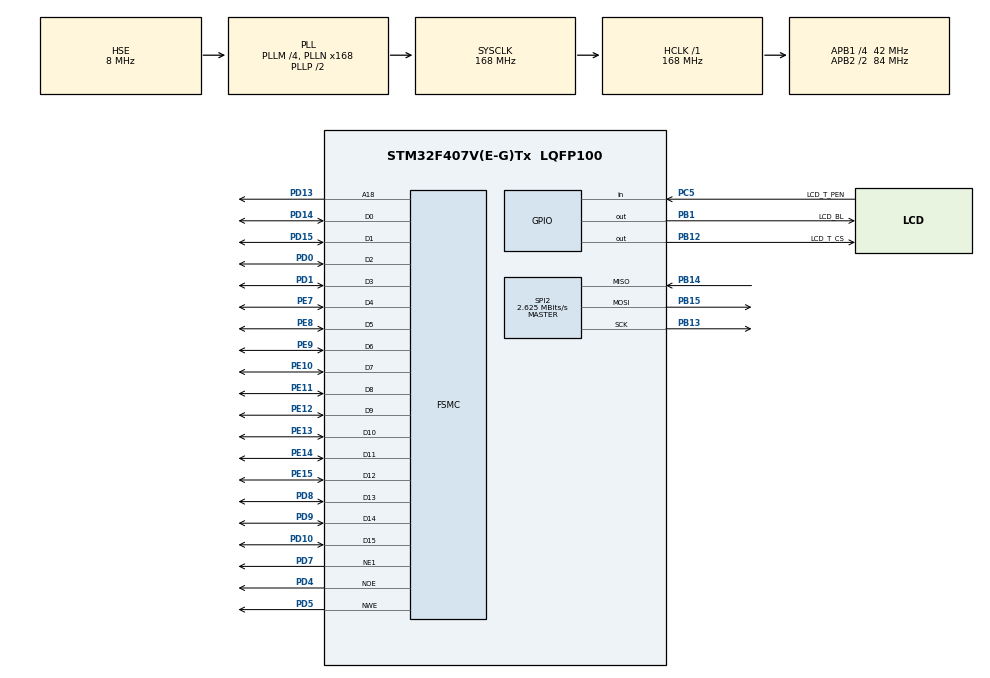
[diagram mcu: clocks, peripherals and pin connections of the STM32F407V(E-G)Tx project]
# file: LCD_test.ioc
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FSMC.BusTurnAroundDuration1=0
FSMC.DataSetupTime1=60
FSMC.ExtendedAddressSetupTime1=9
FSMC.ExtendedBusTurnAroundDuration1=0
FSMC.ExtendedDataSetupTime1=8
FSMC.ExtendedMode1=FSMC_EXTENDED_MODE_ENABLE
Mcu.Family=STM32F4
Mcu.Name=STM32F407V(E-G)Tx
Mcu.Package=LQFP100
NVIC.PriorityGroup=NVIC_PRIORITYGROUP_4
PA13.Mode=Serial_Wire
PA13.Signal=SYS_JTMS-SWDIO
PA14.Mode=Serial_Wire
PA14.Signal=SYS_JTCK-SWCLK
PB1.GPIO_Label=LCD_BL
PB1.PinState=GPIO_PIN_SET
PB1.Signal=GPIO_Output
PB12.GPIO_Label=LCD_T_CS
PB12.GPIO_Speed=GPIO_SPEED_FREQ_VERY_HIGH
PB12.PinState=GPIO_PIN_SET
PB12.Signal=GPIO_Output
PB13.Mode=Full_Duplex_Master
PB13.Signal=SPI2_SCK
PB14.Mode=Full_Duplex_Master
PB14.Signal=SPI2_MISO
PB15.Mode=Full_Duplex_Master
PB15.Signal=SPI2_MOSI
PC14-OSC32_IN.Mode=LSE-External-Oscillator
PC14-OSC32_IN.Signal=RCC_OSC32_IN
PC15-OSC32_OUT.Mode=LSE-External-Oscillator
PC15-OSC32_OUT.Signal=RCC_OSC32_OUT
PC5.GPIO_Label=LCD_T_PEN
PC5.GPIO_PuPd=GPIO_PULLUP
PC5.Signal=GPIO_Input
PD0.Mode=16b-d1
PD0.Signal=FSMC_D2
PD1.Mode=16b-d1
PD1.Signal=FSMC_D3
PD10.Mode=16b-d1
PD10.Signal=FSMC_D15
PD13.Mode=A18_1
PD13.Signal=FSMC_A18
PD14.Mode=16b-d1
PD14.Signal=FSMC_D0
PD15.Mode=16b-d1
PD15.Signal=FSMC_D1
PD4.Mode=Lcd1
PD4.Signal=FSMC_NOE
PD5.Mode=Lcd1
PD5.Signal=FSMC_NWE
PD7.Mode=NorPsramChipSelect1_1
PD7.Signal=FSMC_NE1
PD8.Mode=16b-d1
PD8.Signal=FSMC_D13
PD9.Mode=16b-d1
PD9.Signal=FSMC_D14
PE10.Mode=16b-d1
PE10.Signal=FSMC_D7
PE11.Mode=16b-d1
PE11.Signal=FSMC_D8
PE12.Mode=16b-d1
PE12.Signal=FSMC_D9
PE13.Mode=16b-d1
PE13.Signal=FSMC_D10
PE14.Mode=16b-d1
PE14.Signal=FSMC_D11
PE15.Mode=16b-d1
PE15.Signal=FSMC_D12
PE7.Mode=16b-d1
PE7.Signal=FSMC_D4
PE8.Mode=16b-d1
PE8.Signal=FSMC_D5
PE9.Mode=16b-d1
PE9.Signal=FSMC_D6
PH0-OSC_IN.Mode=HSE-External-Oscillator
PH0-OSC_IN.Signal=RCC_OSC_IN
PH1-OSC_OUT.Mode=HSE-External-Oscillator
PH1-OSC_OUT.Signal=RCC_OSC_OUT
ProjectManager.HeapSize=0x200
ProjectManager.StackSize=0x400
ProjectManager.TargetToolchain=MDK-ARM V5.32
RCC.48MHZClocksFreq_Value=84000000
RCC.AHBFreq_Value=168000000
RCC.APB1CLKDivider=RCC_HCLK_DIV4
RCC.APB1Freq_Value=42000000
RCC.APB1TimFreq_Value=84000000
RCC.APB2CLKDivider=RCC_HCLK_DIV2
RCC.APB2Freq_Value=84000000
RCC.APB2TimFreq_Value=168000000
RCC.CortexFreq_Value=168000000
RCC.HCLKFreq_Value=168000000
RCC.HSE_VALUE=8000000
RCC.HSI_VALUE=16000000
RCC.PLLM=4
RCC.PLLN=168
RCC.PLLSourceVirtual=RCC_PLLSOURCE_HSE
RCC.SYSCLKFreq_VALUE=168000000
RCC.SYSCLKSource=RCC_SYSCLKSOURCE_PLLCLK
RCC.VCOOutputFreq_Value=336000000
SPI2.BaudRatePrescaler=SPI_BAUDRATEPRESCALER_16
SPI2.CalculateBaudRate=2.625 MBits/s
SPI2.Direction=SPI_DIRECTION_2LINES
SPI2.Mode=SPI_MODE_MASTER
SPI2.VirtualType=VM_MASTER
board=custom

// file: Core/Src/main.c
/* USER CODE BEGIN Header */
/**
  ******************************************************************************
  * @file           : main.c
  * @brief          : Main program body
  ******************************************************************************
  * @attention
  *
  * Copyright (c) 2025 STMicroelectronics.
  * All rights reserved.
  *
  * This software is licensed under terms that can be found in the LICENSE file
  * in the root directory of this software component.
  * If no LICENSE file comes with this software, it is provided AS-IS.
  *
  ******************************************************************************
  */
/* USER CODE END Header */
#include "main.h"
#include "spi.h"
#include "gpio.h"
#include "fsmc.h"

/* USER CODE BEGIN Includes */
#include "lcd.h"
#include "touch.h"
#include "stdio.h"//用sprintf函数
/* USER CODE END Includes */

/* USER CODE BEGIN PV */
void test1()
{

}

/* USER CODE END PV */

void SystemClock_Config(void);

int main(void)
{

  /* MCU Configuration--------------------------------------------------------*/

  /* Reset of all peripherals, Initializes the Flash interface and the Systick. */
  HAL_Init();

  /* Configure the system clock */
  SystemClock_Config();

  /* Initialize all configured peripherals */
  MX_GPIO_Init();
  MX_FSMC_Init();
  MX_SPI2_Init();
  /* USER CODE BEGIN 2 */
	LCD_Init();

  /* USER CODE END 2 */

  /* Infinite loop */
  /* USER CODE BEGIN WHILE */
	LCD_Clear(YELLOW);
	POINT_COLOR = BLUE;
	BACK_COLOR = GREEN;
	char str[20] = {0};
	uint16_t adc_value = 0;
	uint32_t num = 0;

  while (1)
  {
			adc_value = XPT2046_Read_Filter(&hspi2,0xd0);
			sprintf(str, "ADC_X:%4d", adc_value);
			LCD_ShowString(10, 10, 400, 400, 24, (uint8_t*)str);
			adc_value =XPT2046_Read_Filter(&hspi2,0x90);
			sprintf(str, "ADC_Y:%4d", adc_value);
			LCD_ShowString(10, 40, 400, 400, 24, (uint8_t*)str);

			num = XPT2046_Get_Point(&hspi2);
			if((num>>16)&&(num&0xffff) != 0)
			{
				sprintf(str,"X:%3d",num>>16);
				LCD_ShowString(10,70,400,400,24,(uint8_t*)str);
				sprintf(str,"Y:%3d",num&0xffff);
				LCD_ShowString(10,100,400,400,24,(uint8_t*)str);
				LCD_Draw_Circle(num>>16,num&0xffff,2);
			}

			HAL_Delay(10);
    /* USER CODE END WHILE */

  }
}

void SystemClock_Config(void)
{
  RCC_OscInitTypeDef RCC_OscInitStruct = {0};
  RCC_ClkInitTypeDef RCC_ClkInitStruct = {0};

  /** Configure the main internal regulator output voltage
  */
  __HAL_RCC_PWR_CLK_ENABLE();
  __HAL_PWR_VOLTAGESCALING_CONFIG(PWR_REGULATOR_VOLTAGE_SCALE1);

  /** Initializes the RCC Oscillators according to the specified parameters
  * in the RCC_OscInitTypeDef structure.
  */
  RCC_OscInitStruct.OscillatorType = RCC_OSCILLATORTYPE_HSE;
  RCC_OscInitStruct.HSEState = RCC_HSE_ON;
  RCC_OscInitStruct.PLL.PLLState = RCC_PLL_ON;
  RCC_OscInitStruct.PLL.PLLSource = RCC_PLLSOURCE_HSE;
  RCC_OscInitStruct.PLL.PLLM = 4;
  RCC_OscInitStruct.PLL.PLLN = 168;
  RCC_OscInitStruct.PLL.PLLP = RCC_PLLP_DIV2;
  RCC_OscInitStruct.PLL.PLLQ = 4;
  if (HAL_RCC_OscConfig(&RCC_OscInitStruct) != HAL_OK)
  {
    Error_Handler();
  }

  /** Initializes the CPU, AHB and APB buses clocks
  */
  RCC_ClkInitStruct.ClockType = RCC_CLOCKTYPE_HCLK|RCC_CLOCKTYPE_SYSCLK
                              |RCC_CLOCKTYPE_PCLK1|RCC_CLOCKTYPE_PCLK2;
  RCC_ClkInitStruct.SYSCLKSource = RCC_SYSCLKSOURCE_PLLCLK;
  RCC_ClkInitStruct.AHBCLKDivider = RCC_SYSCLK_DIV1;
  RCC_ClkInitStruct.APB1CLKDivider = RCC_HCLK_DIV4;
  RCC_ClkInitStruct.APB2CLKDivider = RCC_HCLK_DIV2;

  if (HAL_RCC_ClockConfig(&RCC_ClkInitStruct, FLASH_LATENCY_5) != HAL_OK)
  {
    Error_Handler();
  }
}

void Error_Handler(void)
{
  __disable_irq();
  while (1)
  {
  }
}
